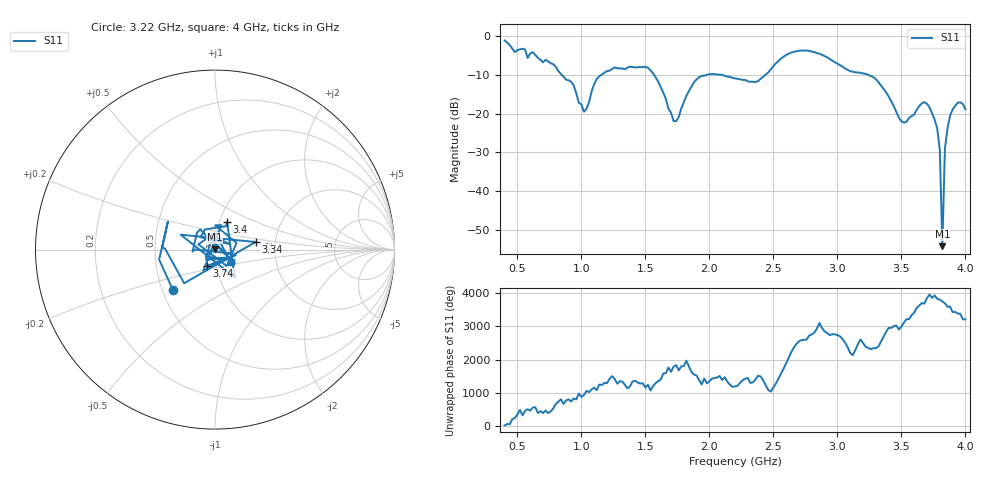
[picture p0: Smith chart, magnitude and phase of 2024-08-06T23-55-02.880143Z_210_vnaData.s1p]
!Created with skrf (http://scikit-rf.org).
# Hz S RI R 50.0
!freq ReS11 ImS11
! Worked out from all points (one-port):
!   181 points, 400 MHz to 4 GHz, reference 50 ohm
!   lowest |S11| = -54.1 dB at 3.82 GHz (marker M1), VSWR 1.00, Z = 49.9 + j0.132 ohm
!   |S11| at or under -10 dB: 1.567 GHz to 1.984 GHz (416.7 MHz wide, 23.5 % of centre); 2.085 GHz to 2.438 GHz (352.9 MHz wide, 15.6 % of centre); 3.24 GHz to end of sweep (the widest 3 of 4)
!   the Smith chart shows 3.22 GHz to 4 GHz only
!   S11 on the Smith chart (normalised r, x): 3.22 GHz: 0.57, -0.28; 3.34 GHz: 1.58, +0.14; 3.4 GHz: 1.09, +0.34; 3.74 GHz: 0.90, -0.17; 4 GHz: 1.19, -0.16
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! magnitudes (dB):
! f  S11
! 400 MHz  -1.2
! 860 MHz  -10.5
! 940 MHz  -12.8
! 1.02 GHz  -19.5
! 1.12 GHz  -11.1
! 1.3 GHz  -8.4
! 1.52 GHz  -8.2
! 1.72 GHz  -21.9
! 1.76 GHz  -20.9
! 1.92 GHz  -10.6
! 2.2 GHz  -11.0
! 2.38 GHz  -11.7
! 2.66 GHz  -4.1
! 3.1 GHz  -9.1
! 3.22 GHz  -9.8
! 3.34 GHz  -12.8
! 3.4 GHz  -15.6
! 3.5 GHz  -22.0
! 3.56 GHz  -21.1
! 3.68 GHz  -17.0
! 3.74 GHz  -20.0
! 3.78 GHz  -23.8
! 3.8 GHz  -29.3
! 3.82 GHz  -54.1
! 3.84 GHz  -29.0
! 3.86 GHz  -23.8
! 3.94 GHz  -17.2
! 4 GHz  -18.9
